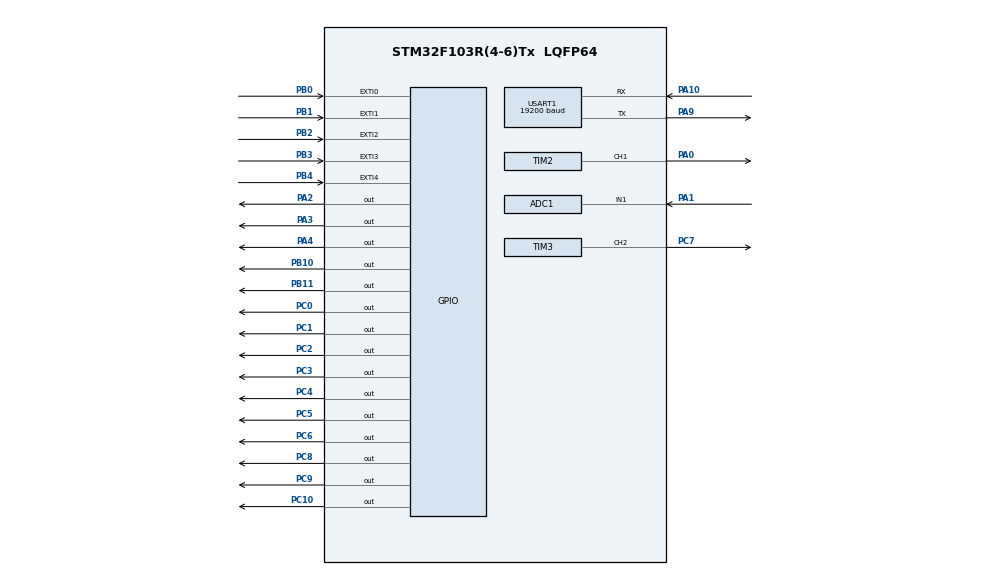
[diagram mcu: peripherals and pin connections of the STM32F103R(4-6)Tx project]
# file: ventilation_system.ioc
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ADC1.Channel-0\#ChannelRegularConversion=ADC_CHANNEL_1
ADC1.ContinuousConvMode=ENABLE
ADC1.NbrOfConversionFlag=1
ADC1.Rank-0\#ChannelRegularConversion=1
ADC1.SamplingTime-0\#ChannelRegularConversion=ADC_SAMPLETIME_1CYCLE_5
ADC1.master=1
Mcu.Family=STM32F1
Mcu.Name=STM32F103R(4-6)Tx
Mcu.Package=LQFP64
NVIC.ADC1_2_IRQn=true\:0\:0\:false\:false\:true\:true\:true\:true
NVIC.EXTI0_IRQn=true\:0\:0\:false\:false\:true\:true\:true\:true
NVIC.EXTI1_IRQn=true\:0\:0\:false\:false\:true\:true\:true\:true
NVIC.EXTI2_IRQn=true\:0\:0\:false\:false\:true\:true\:true\:true
NVIC.EXTI3_IRQn=true\:0\:0\:false\:false\:true\:true\:true\:true
NVIC.EXTI4_IRQn=true\:0\:0\:false\:false\:true\:true\:true\:true
NVIC.PriorityGroup=NVIC_PRIORITYGROUP_4
NVIC.TIM3_IRQn=true\:0\:0\:false\:false\:true\:true\:true\:true
NVIC.USART1_IRQn=true\:0\:0\:false\:false\:true\:true\:true\:true
PA0-WKUP.Signal=S_TIM2_CH1_ETR
PA1.Signal=ADCx_IN1
PA10.Mode=Asynchronous
PA10.Signal=USART1_RX
PA2.PinState=GPIO_PIN_SET
PA2.Signal=GPIO_Output
PA3.PinState=GPIO_PIN_SET
PA3.Signal=GPIO_Output
PA4.Signal=GPIO_Output
PA9.Mode=Asynchronous
PA9.Signal=USART1_TX
PB0.Signal=GPXTI0
PB1.Signal=GPXTI1
PB10.Signal=GPIO_Output
PB11.Signal=GPIO_Output
PB2.Signal=GPXTI2
PB3.Signal=GPXTI3
PB4.Signal=GPXTI4
PC0.PinState=GPIO_PIN_SET
PC0.Signal=GPIO_Output
PC1.PinState=GPIO_PIN_SET
PC1.Signal=GPIO_Output
PC10.PinState=GPIO_PIN_SET
PC10.Signal=GPIO_Output
PC2.PinState=GPIO_PIN_SET
PC2.Signal=GPIO_Output
PC3.PinState=GPIO_PIN_SET
PC3.Signal=GPIO_Output
PC4.PinState=GPIO_PIN_SET
PC4.Signal=GPIO_Output
PC5.PinState=GPIO_PIN_SET
PC5.Signal=GPIO_Output
PC6.PinState=GPIO_PIN_SET
PC6.Signal=GPIO_Output
PC7.Signal=S_TIM3_CH2
PC8.GPIO_ModeDefaultOutputPP=GPIO_MODE_OUTPUT_OD
PC8.GPIO_PuPd=GPIO_NOPULL
PC8.PinState=GPIO_PIN_SET
PC8.Signal=GPIO_Output
PC9.GPIO_ModeDefaultOutputPP=GPIO_MODE_OUTPUT_OD
PC9.GPIO_PuPd=GPIO_NOPULL
PC9.PinState=GPIO_PIN_SET
PC9.Signal=GPIO_Output
ProjectManager.HeapSize=0x200
ProjectManager.StackSize=0x400
ProjectManager.TargetToolchain=MDK-ARM V5.32
RCC.APB1Freq_Value=8000000
RCC.APB2Freq_Value=8000000
SH.ADCx_IN1.0=ADC1_IN1,IN1
SH.S_TIM2_CH1_ETR.0=TIM2_CH1,PWM Generation1 CH1
SH.S_TIM3_CH2.0=TIM3_CH2,PWM Generation2 CH2
TIM2.Channel-PWM\ Generation1\ CH1=TIM_CHANNEL_1
TIM2.Period=1000
TIM2.Prescaler=71
TIM3.Channel-PWM\ Generation2\ CH2=TIM_CHANNEL_2
TIM3.OCPolarity_2=TIM_OCPOLARITY_LOW
TIM3.Period=99
TIM3.Prescaler=79
USART1.BaudRate=19200
USART1.Mode=MODE_TX_RX
USART1.VirtualMode=VM_ASYNC
VP_SYS_VS_ND.Mode=No_Debug
VP_TIM3_VS_ClockSourceINT.Mode=Internal
board=custom

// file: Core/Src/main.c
/* USER CODE BEGIN Header */
/**
  ******************************************************************************
  * @file           : main.c
  * @brief          : Main program body
  ******************************************************************************
  * @attention
  *
  * Copyright (c) 2025 STMicroelectronics.
  * All rights reserved.
  *
  * This software is licensed under terms that can be found in the LICENSE file
  * in the root directory of this software component.
  * If no LICENSE file comes with this software, it is provided AS-IS.
  *
  ******************************************************************************
  */
/* USER CODE END Header */
#include "main.h"
#include "adc.h"
#include "tim.h"
#include "usart.h"
#include "gpio.h"
#include <math.h>
#include "stdio.h"     // For sprintf() function
#include <string.h>
#include "LCD1602.h"   // Custom library for controlling 1602 LCD
#include <stdint.h>

/* USER CODE BEGIN PV */
// PWM duty cycle value for fan (0-100). Controls fan speed.

uint16_t cmpv = 80;
// UART output refresh flag. Set to 1 to send PWM value over UART.
uint8_t rf = 0;
// latest measured temperature in Celsius
float temperature = 0.0f;
// Detects significant temperature changes for LCD update
float previous_temp = -1.0f;
// Operation mode: 0 = Auto, 1 = Manual (set by button interrupts)
uint8_t mode = 0;
// Fan direction: 0 = Stop, 1 = Forward, 2 = Reverse (set by button interrupts)
uint8_t fan_dir = 0;
// Stores the time when manual mode was entered (for timeout, if needed)
uint32_t manual_timer = 0;
// Used for periodic tasks (temperature polling every 300ms)
uint32_t last_tick = 0;

/* USER CODE END PV */

void SystemClock_Config(void);

/**
  * @brief
  * @retval
  */
int main(void)
{

  /* USER CODE BEGIN 1 */
		char str[8];  // Temporary string buffer for UART transmission of PWM value
		char lcd_line1[16];  // First line text for LCD
  /* USER CODE END 1 */

  /* MCU Configuration--------------------------------------------------------*/

  /* Resets of all peripherals, Initializes the Flash interface and the Systick. */
  HAL_Init();

  /* Configures the system clock */
  SystemClock_Config();

  /* Initializes all configured peripherals */
		MX_GPIO_Init();          // Initialize GPIO pins
    MX_TIM3_Init();          // Initialize TIM3 for fan PWM
    MX_USART1_UART_Init();   // Initialize UART1
    MX_ADC1_Init();          // Initialize ADC
    MX_TIM2_Init();          // Initialize TIM2 for buzzer PWM
  /* USER CODE BEGIN 2 */

	/* USER CODE BEGIN 2 */

	   HAL_TIM_PWM_Start(&htim2, TIM_CHANNEL_1); // Start PWM on TIM2_CH1 (PA0 for buzzer)
    HAL_TIM_PWM_Start(&htim3, TIM_CHANNEL_2); // Start PWM on TIM3_CH2 (fan)

    __HAL_TIM_SET_COMPARE(&htim3, TIM_CHANNEL_2, cmpv); // Set initial fan PWM value

    // Stops motor by clearing direction pins
    HAL_GPIO_WritePin(GPIOC, GPIO_PIN_8, GPIO_PIN_RESET);
    HAL_GPIO_WritePin(GPIOC, GPIO_PIN_9, GPIO_PIN_RESET);

    LCD_Init(); // Initializes LCD display

  /* USER CODE END 2 */

  /* Infinite loop */
  /* USER CODE BEGIN WHILE */
  while (1)
  {
    // Every 300ms, reads temperature and updates system state
    if (HAL_GetTick() - last_tick >= 300) { // 300 ms interval
        last_tick = HAL_GetTick();

        // --- Read Temperature from LM35 sensor via ADC ---

        HAL_ADC_Start(&hadc1);                          // Start ADC conversion

        // --- Software-based ADC wait loop (instead of HAL_ADC_PollForConversion) ---
        uint32_t adc_wait_start = HAL_GetTick();
        while ((HAL_ADC_GetState(&hadc1) & HAL_ADC_STATE_REG_EOC) != HAL_ADC_STATE_REG_EOC) {
            if (HAL_GetTick() - adc_wait_start > 100) break; // Timeout after 100ms
        }
        uint32_t adc_val = HAL_ADC_GetValue(&hadc1);    // Read ADC value
        float voltage = (adc_val * 5.0f) / 4095.0f;      // Convert to voltage (assuming 5V ref)
        temperature = voltage * 100.0f / 2;              // Convert voltage to temperature (LM35)

        // --- Update LCD if temperature changes significantly (>=0.5°C) ---
        if (fabs(temperature - previous_temp) >= 0.5f)
        {
            sprintf(lcd_line1, "Temp: %.0f C", temperature); // Format LCD text
            LCD_ShowString(0, 0, lcd_line1);                 // Display on LCD
            previous_temp = temperature;                     // Store current value
        }

        // --- Auto Mode: Fan and indicators controlled by temperature ---
        if (mode == 0)
        {
            if (temperature < 10.0f) {
                // Below 10°C: Fan always turns right, red LED ON, buzzer ON
                HAL_GPIO_WritePin(GPIOC, GPIO_PIN_8, GPIO_PIN_SET);    // Forward direction
                HAL_GPIO_WritePin(GPIOC, GPIO_PIN_9, GPIO_PIN_RESET);
                fan_dir = 1;
                HAL_GPIO_WritePin(GPIOB, GPIO_PIN_11, GPIO_PIN_SET);   // Red LED ON
                HAL_GPIO_WritePin(GPIOB, GPIO_PIN_10, GPIO_PIN_RESET); // Green LED OFF
                HAL_GPIO_WritePin(GPIOB, GPIO_PIN_12, GPIO_PIN_SET);   // Buzzer ON
                __HAL_TIM_SET_COMPARE(&htim2, TIM_CHANNEL_1, 500);     // Buzzer PWM duty

            } else if (temperature > 20.0f) {
                // Above 20°C: Fan always turns left, red LED ON, buzzer ON
                HAL_GPIO_WritePin(GPIOC, GPIO_PIN_8, GPIO_PIN_RESET);    // Reverse direction
                HAL_GPIO_WritePin(GPIOC, GPIO_PIN_9, GPIO_PIN_SET);
                fan_dir = 2;
                HAL_GPIO_WritePin(GPIOB, GPIO_PIN_11, GPIO_PIN_SET);   // Red LED ON
                HAL_GPIO_WritePin(GPIOB, GPIO_PIN_10, GPIO_PIN_RESET); // Green LED OFF
                HAL_GPIO_WritePin(GPIOB, GPIO_PIN_12, GPIO_PIN_SET);   // Buzzer ON
                __HAL_TIM_SET_COMPARE(&htim2, TIM_CHANNEL_1, 500);     // Buzzer PWM duty

            } else {
                // 10°C <= temp <= 20°C: Stop fan, green LED ON, buzzer OFF
                HAL_GPIO_WritePin(GPIOC, GPIO_PIN_8, GPIO_PIN_RESET);  // Stop motor
                HAL_GPIO_WritePin(GPIOC, GPIO_PIN_9, GPIO_PIN_RESET);
                fan_dir = 0;
                HAL_GPIO_WritePin(GPIOB, GPIO_PIN_10, GPIO_PIN_SET);   // Green LED ON
                HAL_GPIO_WritePin(GPIOB, GPIO_PIN_11, GPIO_PIN_RESET); // Red LED OFF
                HAL_GPIO_WritePin(GPIOB, GPIO_PIN_12, GPIO_PIN_RESET); // Buzzer OFF
                __HAL_TIM_SET_COMPARE(&htim2, TIM_CHANNEL_1, 0);       // Stop buzzer
            }
        }
        // --- Manual Mode: Fan direction set by user buttons ---

        else
        {
            if (fan_dir == 1)
            {
                HAL_GPIO_WritePin(GPIOC, GPIO_PIN_8, GPIO_PIN_SET);   // Forward
                HAL_GPIO_WritePin(GPIOC, GPIO_PIN_9, GPIO_PIN_RESET);
            }
            else if (fan_dir == 2)
            {
                HAL_GPIO_WritePin(GPIOC, GPIO_PIN_8, GPIO_PIN_RESET); // Reverse
                HAL_GPIO_WritePin(GPIOC, GPIO_PIN_9, GPIO_PIN_SET);
            }
            else
            {
                HAL_GPIO_WritePin(GPIOC, GPIO_PIN_8, GPIO_PIN_RESET); // Stop
                HAL_GPIO_WritePin(GPIOC, GPIO_PIN_9, GPIO_PIN_RESET);
            }
        }

        // --- Transmit PWM value over UART if refresh flag is set ---

        if (rf == 1)
        {
            char msg[16];
            sprintf(msg, "PWM:%d\r\n", cmpv);
            if (HAL_UART_GetState(&huart1) == HAL_UART_STATE_READY)
            {
                HAL_UART_Transmit_IT(&huart1, (uint8_t*)msg, strlen(msg));
            }
            rf = 0; // Clear refresh flag
        }
    }
    /* USER CODE END WHILE */

  }
}

void SystemClock_Config(void)
{
  RCC_OscInitTypeDef RCC_OscInitStruct = {0};
  RCC_ClkInitTypeDef RCC_ClkInitStruct = {0};
  RCC_PeriphCLKInitTypeDef PeriphClkInit = {0};

  /** Initializes the RCC Oscillators according to the specified parameters
  * in the RCC_OscInitTypeDef structure.
  *
  */

  RCC_OscInitStruct.OscillatorType = RCC_OSCILLATORTYPE_HSI;
  RCC_OscInitStruct.HSIState = RCC_HSI_ON;
  RCC_OscInitStruct.HSICalibrationValue = RCC_HSICALIBRATION_DEFAULT;
  RCC_OscInitStruct.PLL.PLLState = RCC_PLL_NONE;
  if (HAL_RCC_OscConfig(&RCC_OscInitStruct) != HAL_OK)
  {
    Error_Handler();
  }

  /** Initializes the CPU, AHB and APB buses clocks
   *
  */
  RCC_ClkInitStruct.ClockType = RCC_CLOCKTYPE_HCLK|RCC_CLOCKTYPE_SYSCLK
                              |RCC_CLOCKTYPE_PCLK1|RCC_CLOCKTYPE_PCLK2;
  RCC_ClkInitStruct.SYSCLKSource = RCC_SYSCLKSOURCE_HSI;
  RCC_ClkInitStruct.AHBCLKDivider = RCC_SYSCLK_DIV1;
  RCC_ClkInitStruct.APB1CLKDivider = RCC_HCLK_DIV1;
  RCC_ClkInitStruct.APB2CLKDivider = RCC_HCLK_DIV1;

  if (HAL_RCC_ClockConfig(&RCC_ClkInitStruct, FLASH_LATENCY_0) != HAL_OK)
  {
    Error_Handler();
  }
  PeriphClkInit.PeriphClockSelection = RCC_PERIPHCLK_ADC;
  PeriphClkInit.AdcClockSelection = RCC_ADCPCLK2_DIV2;
  if (HAL_RCCEx_PeriphCLKConfig(&PeriphClkInit) != HAL_OK)
  {
    Error_Handler();
  }
}

/* USER CODE BEGIN 4 */

/* USER CODE BEGIN 4 */

// --- External Interrupt Callback for Button Handling ---

// Handles button presses for manual mode and PWM adjustment
void HAL_GPIO_EXTI_Callback(uint16_t GPIO_Pin)
{
    if(GPIO_Pin == GPIO_PIN_0) // FWD button: Set manual mode, forward direction
    {

        mode = 1;
        fan_dir = 1;
        manual_timer = HAL_GetTick();
        rf = 1;
    }

    else if(GPIO_Pin == GPIO_PIN_1) // REV button: Set manual mode, reverse direction
    {
        mode = 1;
        fan_dir = 2;
        manual_timer = HAL_GetTick();
        rf = 1;

    }
    else if(GPIO_Pin == GPIO_PIN_2) // STOP button: Set manual mode, stop fan

    {
        mode = 1;
        fan_dir = 0;
        manual_timer = HAL_GetTick();
        rf = 1;
    }

    else if(GPIO_Pin == GPIO_PIN_3) // PWM Increase button

    {
        if(cmpv < 100) cmpv += 10;
        __HAL_TIM_SET_COMPARE(&htim3, TIM_CHANNEL_2, cmpv);
        rf = 1;

    }
    else if(GPIO_Pin == GPIO_PIN_4) // PWM Decrease button

    {

        if(cmpv > 0) cmpv -= 10;
        __HAL_TIM_SET_COMPARE(&htim3, TIM_CHANNEL_2, cmpv);
        rf = 1;

    }
}

/* USER CODE END 4 */

void Error_Handler(void)
{
  __disable_irq();
  while (1)
  {
  }
}
